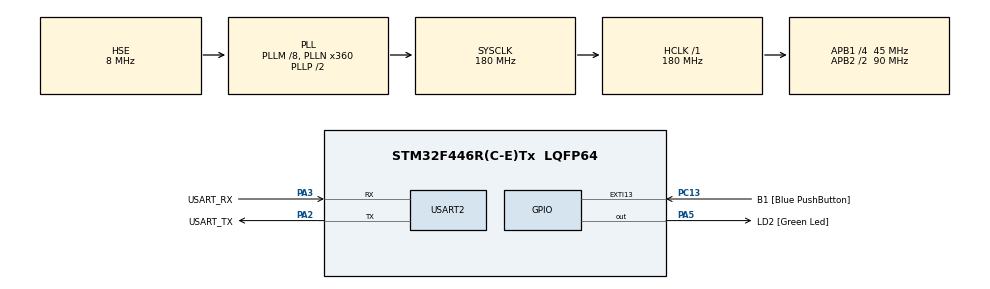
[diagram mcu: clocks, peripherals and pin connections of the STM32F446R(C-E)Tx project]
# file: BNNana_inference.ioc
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Mcu.Family=STM32F4
Mcu.Name=STM32F446R(C-E)Tx
Mcu.Package=LQFP64
NVIC.PriorityGroup=NVIC_PRIORITYGROUP_0
PA13.GPIO_Label=TMS
PA13.Mode=Serial_Wire
PA13.Signal=SYS_JTMS-SWDIO
PA14.GPIO_Label=TCK
PA14.Mode=Serial_Wire
PA14.Signal=SYS_JTCK-SWCLK
PA2.GPIO_Label=USART_TX
PA2.Mode=Asynchronous
PA2.Signal=USART2_TX
PA3.GPIO_Label=USART_RX
PA3.Mode=Asynchronous
PA3.Signal=USART2_RX
PA5.GPIO_Label=LD2 [Green Led]
PA5.Signal=GPIO_Output
PB3.GPIO_Label=SWO
PB3.Signal=SYS_JTDO-SWO
PC13.GPIO_Label=B1 [Blue PushButton]
PC13.GPIO_ModeDefaultEXTI=GPIO_MODE_IT_FALLING
PC13.Signal=GPXTI13
PC14-OSC32_IN.Mode=LSE-External-Oscillator
PC14-OSC32_IN.Signal=RCC_OSC32_IN
PC15-OSC32_OUT.Mode=LSE-External-Oscillator
PC15-OSC32_OUT.Signal=RCC_OSC32_OUT
PH0-OSC_IN.Mode=HSE-External-Oscillator
PH0-OSC_IN.Signal=RCC_OSC_IN
PH1-OSC_OUT.Mode=HSE-External-Oscillator
PH1-OSC_OUT.Signal=RCC_OSC_OUT
ProjectManager.HeapSize=0x200
ProjectManager.StackSize=0x400
ProjectManager.TargetToolchain=STM32CubeIDE
RCC.48MHZClocksFreq_Value=84000000
RCC.AHBFreq_Value=180000000
RCC.APB1CLKDivider=RCC_HCLK_DIV4
RCC.APB1Freq_Value=45000000
RCC.APB1TimFreq_Value=90000000
RCC.APB2CLKDivider=RCC_HCLK_DIV2
RCC.APB2Freq_Value=90000000
RCC.APB2TimFreq_Value=180000000
RCC.CortexFreq_Value=180000000
RCC.FLatency-AdvancedSettings=FLASH_LATENCY_5
RCC.HCLKFreq_Value=180000000
RCC.HSE_VALUE=8000000
RCC.HSI_VALUE=16000000
RCC.PLLM=8
RCC.PLLN=360
RCC.PLLSourceVirtual=RCC_PLLSOURCE_HSE
RCC.SYSCLKFreq_VALUE=180000000
RCC.SYSCLKSource=RCC_SYSCLKSOURCE_PLLCLK
RCC.USBFreq_Value=180000000
RCC.VCOOutputFreq_Value=360000000
TIM2.AutoReloadPreload=TIM_AUTORELOAD_PRELOAD_ENABLE
TIM2.Prescaler=90-1
USART2.VirtualMode=VM_ASYNC
VP_CRC_VS_CRC.Mode=CRC_Activate
VP_TIM2_VS_ClockSourceINT.Mode=Internal
board=NUCLEO-F446RE

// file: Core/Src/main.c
/* USER CODE BEGIN Header */
/**
  ******************************************************************************
  * @file           : main.c
  * @brief          : Main program body for BNNana DDoS Detector
  *                   Target: STM32 Benchmarking (Modular BWN)
  ******************************************************************************
  */
/* USER CODE END Header */

#include "main.h"
#include "crc.h"
#include "tim.h"
#include "usart.h"
#include "gpio.h"

/* USER CODE BEGIN Includes */
#include <stdio.h>
#include <string.h>
#include "bnn_model.h"
#include "weights.h"      // Contains L0_SIZE, NUM_HIDDEN_LAYERS, etc.
#include "bnn_types.h"    // Automatically generated by export_model.py
#include "feature_order.h"
/* USER CODE END Includes */

/* USER CODE BEGIN PD */
#define REQ_PACKET_SIZE 70  // 1B Header + 68B Features + 1B Checksum
#define REQ_HEADER      0xAA

#define RES_PACKET_SIZE 9   // 1B Header + 1B Pred + 4B Cycles + 2B Time + 1B Checksum
#define RES_HEADER      0x55
/* USER CODE END PD */

/* USER CODE BEGIN PV */
uint8_t rx_buf[REQ_PACKET_SIZE];
uint8_t tx_buf[RES_PACKET_SIZE];
/* USER CODE END PV */

void SystemClock_Config(void);

/* USER CODE BEGIN PFP */
int _write(int file, char *ptr, int len) {
    for (int i = 0; i < len; i++) {
        ITM_SendChar(*ptr++);
    }
    return len;
}

uint8_t calculate_checksum(uint8_t *data, uint32_t len) {
    uint8_t sum = 0;
    for (uint32_t i = 0; i < len; i++) sum += data[i];
    return sum;
}
/* USER CODE END PFP */

int main(void)
{
  /* MCU Configuration */
  HAL_Init();
  SystemClock_Config();

  /* Initialize all configured peripherals */
  MX_GPIO_Init();
  MX_CRC_Init();
  MX_TIM2_Init();
  MX_USART2_UART_Init();

  /* USER CODE BEGIN 2 */
  HAL_TIM_Base_Start(&htim2);

  CoreDebug->DEMCR |= CoreDebug_DEMCR_TRCENA_Msk;
  DWT->CYCCNT = 0;
  DWT->CTRL |= DWT_CTRL_CYCCNTENA_Msk;

  // Clear UART flags and flush
  __HAL_UART_CLEAR_FLAG(&huart2, UART_FLAG_ORE | UART_FLAG_NE | UART_FLAG_FE);
  __HAL_UART_FLUSH_DRREGISTER(&huart2);

  printf("\r\n====================================\r\n");
  printf("   BNNana DDoS Detector Initialized   \r\n");
  printf("   Layers: %d | Input Features: %d\r\n", NUM_HIDDEN_LAYERS, INPUT_SIZE);
  printf("   Debug: SWV | Data: UART2 (115200)  \r\n");
  printf("====================================\r\n");
  /* USER CODE END 2 */

  /* Infinite loop */
  /* USER CODE BEGIN WHILE */
  while (1)
  {
    uint8_t header_byte = 0;

    /* 1. Header Hunt */
    if (HAL_UART_Receive(&huart2, &header_byte, 1, HAL_MAX_DELAY) == HAL_OK)
    {
        if (header_byte == REQ_HEADER)
        {
            rx_buf[0] = header_byte;

            /* 2. Read Packet Body */
            if (HAL_UART_Receive(&huart2, &rx_buf[1], REQ_PACKET_SIZE - 1, 100) == HAL_OK)
            {
                /* 3. Verify Checksum */
                uint8_t received_checksum = rx_buf[REQ_PACKET_SIZE - 1];
                uint8_t computed_checksum = calculate_checksum(&rx_buf[1], 68);

                if (computed_checksum == received_checksum)
                {
                    BNN_Input input;
                    // Memory layout is guaranteed by generated bnn_types.h
                    memcpy(input.array, &rx_buf[1], 68);

                    /* --- START BENCHMARK --- */
                    uint32_t start_cycles = DWT->CYCCNT;
                    uint32_t start_us = __HAL_TIM_GET_COUNTER(&htim2);

                    uint8_t prediction = bnn_predict_label(&input.named);

                    uint32_t end_us = __HAL_TIM_GET_COUNTER(&htim2);
                    uint32_t end_cycles = DWT->CYCCNT;
                    /* --- END BENCHMARK --- */

                    uint32_t total_cycles = end_cycles - start_cycles;
                    uint16_t latency_us = (uint16_t)(end_us - start_us);

                    /* 4. SWV Log */
                    printf("Inference: Pred=%d | Cycles=%lu | Time=%u us\r\n",
                            prediction, total_cycles, latency_us);

                    /* 5. Pack Response */
                    tx_buf[0] = RES_HEADER;
                    tx_buf[1] = prediction;
                    memcpy(&tx_buf[2], &total_cycles, 4);
                    memcpy(&tx_buf[6], &latency_us, 2);
                    tx_buf[8] = calculate_checksum(&tx_buf[1], 7);

                    /* 6. Transmit */
                    HAL_UART_Transmit(&huart2, tx_buf, RES_PACKET_SIZE, 50);

                    HAL_GPIO_TogglePin(GPIOA, GPIO_PIN_5);
                }
                else
                {
                    printf("Error: Checksum Mismatch\r\n");
                }
            }
        }
        // Safety: Clear Overrun flag if it occurred during processing
        __HAL_UART_CLEAR_OREFLAG(&huart2);
    }
  }
  /* USER CODE END WHILE */
}

void SystemClock_Config(void)
{
  RCC_OscInitTypeDef RCC_OscInitStruct = {0};
  RCC_ClkInitTypeDef RCC_ClkInitStruct = {0};

  __HAL_RCC_PWR_CLK_ENABLE();
  __HAL_PWR_VOLTAGESCALING_CONFIG(PWR_REGULATOR_VOLTAGE_SCALE1);

  RCC_OscInitStruct.OscillatorType = RCC_OSCILLATORTYPE_HSE;
  RCC_OscInitStruct.HSEState = RCC_HSE_ON;
  RCC_OscInitStruct.PLL.PLLState = RCC_PLL_ON;
  RCC_OscInitStruct.PLL.PLLSource = RCC_PLLSOURCE_HSE;
  RCC_OscInitStruct.PLL.PLLM = 8;
  RCC_OscInitStruct.PLL.PLLN = 360;
  RCC_OscInitStruct.PLL.PLLP = RCC_PLLP_DIV2;
  RCC_OscInitStruct.PLL.PLLQ = 2;
  RCC_OscInitStruct.PLL.PLLR = 2;
  if (HAL_RCC_OscConfig(&RCC_OscInitStruct) != HAL_OK)
  {
    Error_Handler();
  }

  if (HAL_PWREx_EnableOverDrive() != HAL_OK)
  {
    Error_Handler();
  }

  RCC_ClkInitStruct.ClockType = RCC_CLOCKTYPE_HCLK|RCC_CLOCKTYPE_SYSCLK
                              |RCC_CLOCKTYPE_PCLK1|RCC_CLOCKTYPE_PCLK2;
  RCC_ClkInitStruct.SYSCLKSource = RCC_SYSCLKSOURCE_PLLCLK;
  RCC_ClkInitStruct.AHBCLKDivider = RCC_SYSCLK_DIV1;
  RCC_ClkInitStruct.APB1CLKDivider = RCC_HCLK_DIV4;
  RCC_ClkInitStruct.APB2CLKDivider = RCC_HCLK_DIV2;

  if (HAL_RCC_ClockConfig(&RCC_ClkInitStruct, FLASH_LATENCY_5) != HAL_OK)
  {
    Error_Handler();
  }
}

void Error_Handler(void)
{
  __disable_irq();
  while (1)
  {
  }
}
